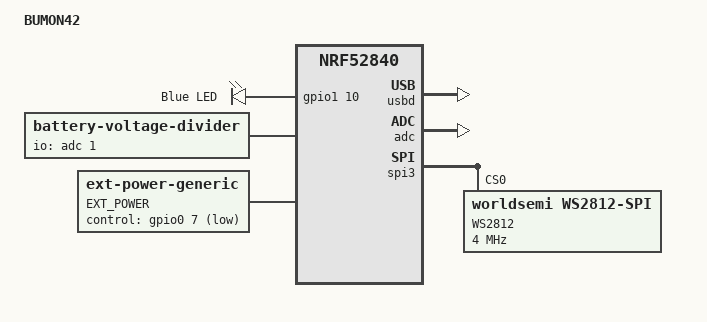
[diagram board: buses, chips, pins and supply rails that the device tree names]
/*
 * Copyright (c) 2020 Stefan Sundin (4pplet)
 *
 * SPDX-License-Identifier: MIT
 */

/dts-v1/;
#include <nordic/nrf52840_qiaa.dtsi>
#include "Bumon42-pinctrl.dtsi"
#include <dt-bindings/zmk/matrix_transform.h>
#include <dt-bindings/led/led.h>

/ {
	model = "BUMON42";
	compatible = "Bumon42";

	chosen {
		zephyr,code-partition = &code_partition;
		zephyr,sram = &sram0;
		zephyr,flash = &flash0;
		zmk,underglow = &led_strip;
	};

  leds {
		compatible = "gpio-leds";
		blue_led: led_0 {
			gpios = <&gpio1 10 GPIO_ACTIVE_HIGH>;
			label = "Blue LED";
		};
	};

	vbatt {
		compatible = "zmk,battery-voltage-divider";
		label = "BATTERY";
		io-channels = <&adc 1>;
		output-ohms = <1000000>;
		full-ohms = <(1000000 + 1000000)>;
	};



	ext-power {
		compatible = "zmk,ext-power-generic";
		label = "EXT_POWER";
		control-gpios = <&gpio0 7 GPIO_ACTIVE_LOW>;
	};


};

zephyr_udc0: &usbd {
    status = "okay";
};

&gpio0 {
	status = "okay";
};

&gpio1 {
	status = "okay";
};



&adc {
	status = "okay";
};

&usbd {
	status = "okay";
};

&i2c0 {
	compatible = "nordic,nrf-twi";
	pinctrl-0 = <&i2c0_default>;
	pinctrl-1 = <&i2c0_sleep>;
	pinctrl-names = "default", "sleep";
};



&spi3 {
  compatible = "nordic,nrf-spim";
  status = "okay";

  pinctrl-0 = <&spi3_default>;
  pinctrl-1 = <&spi3_sleep>;
  pinctrl-names = "default", "sleep";

  led_strip: ws2812@0 {
    compatible = "worldsemi,ws2812-spi";
    label = "WS2812";

    /* SPI */
    reg = <0>; /* ignored, but necessary for SPI bindings */
    spi-max-frequency = <4000000>;

    /* WS2812 */
    chain-length = <46>; /* number of LEDs */
    spi-one-frame = <0x70>;
    spi-zero-frame = <0x40>;
    color-mapping = <LED_COLOR_ID_GREEN
                          LED_COLOR_ID_RED
                          LED_COLOR_ID_BLUE>;
  };
};




&flash0 {
	/*
	 * For more information, see:
	 * http://docs.zephyrproject.org/latest/devices/dts/flash_partitions.html
	 */
	partitions {
		compatible = "fixed-partitions";
		#address-cells = <1>;
		#size-cells = <1>;

		sd_partition: partition@0 {
			label = "softdevice";
			reg = <0x00000000 0x00026000>;
		};
		code_partition: partition@26000 {
			label = "code_partition";
			reg = <0x00026000 0x000c6000>;
		};

		/*
		 * The flash starting at 0x000ec000 and ending at
		 * 0x000f3fff is reserved for use by the application.
		 */

		/*
		 * Storage partition will be used by FCB/LittleFS/NVS
		 * if enabled.
		 */
		storage_partition: partition@ec000 {
			label = "storage";
			reg = <0x000ec000 0x00008000>;
		};

		boot_partition: partition@f4000 {
			label = "adafruit_boot";
			reg = <0x000f4000 0x0000c000>;
		};
	};
};
